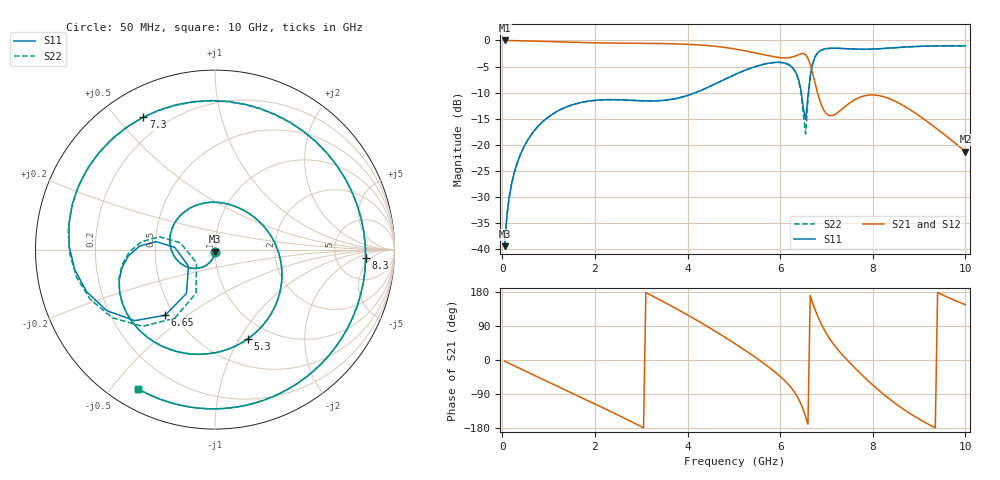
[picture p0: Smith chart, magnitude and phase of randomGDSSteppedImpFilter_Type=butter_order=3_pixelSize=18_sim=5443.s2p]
! freq	dB(S11)	phase(S11)	dB(S12)	phase(S12)
!  dB(S21)	phase(S21)	dB(S22)	phase(S22)
!S-par simulation data
#  GHz  S  DB  R 50
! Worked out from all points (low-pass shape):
!   200 points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, 50 MHz to 10 GHz, reference 50 ohm
!   highest |S21| = -0.01 dB at 50 MHz (marker M1); lowest = -21.3 dB at 10 GHz (marker M2)
!   |S21| within 3 dB of the highest: start of sweep to 5.786 GHz; 6.325 GHz to 6.571 GHz (245.9 MHz wide, 3.81 % of centre)
!   lowest |S11| = -39.4 dB at 50 MHz (marker M3), VSWR 1.02, Z = 49.9 - j1.07 ohm
!   |S11| at or under -10 dB: start of sweep to 4.173 GHz; 6.456 GHz to 6.609 GHz (152.8 MHz wide, 2.34 % of centre)
!   |S22| runs from -39.4 to -1.0 dB; largest |S21 - S12| = 0
!   S11 on the Smith chart (normalised r, x): 50 MHz: 1.00, -0.02; 5.3 GHz: 0.79, -1.09; 6.65 GHz: 0.45, -0.41; 7.3 GHz: 0.12, +0.59; 8.3 GHz: 10, -3; 10 GHz: 0.08, -0.59
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0.05  -39.42 -92.2  -0.01 -3.0  -0.01 -3.0  -39.42 -92.2
0.2  -27.53 -101.6  -0.03 -11.8  -0.03 -11.8  -27.53 -101.7
0.5  -19.85 -119.8  -0.09 -29.4  -0.09 -29.4  -19.85 -119.8
1.15  -13.76 -157.7  -0.27 -67.1  -0.27 -67.1  -13.76 -157.7
1.75  -11.80 167.8  -0.42 -101.5  -0.42 -101.5  -11.80 167.8
2.65  -11.42 115.1  -0.52 -154.3  -0.52 -154.3  -11.42 115.1
3.4  -11.54 68.4  -0.59 158.9  -0.59 158.9  -11.54 68.4
4.3  -9.54 7.1  -0.89 97.8  -0.89 97.8  -9.54 7.3
5.05  -6.43 -49.6  -1.68 41.1  -1.68 41.1  -6.43 -49.4
5.3  -5.51 -69.8  -2.09 20.8  -2.09 20.8  -5.52 -69.7
5.85  -4.24 -118.3  -3.11 -27.9  -3.11 -27.9  -4.25 -118.5
6.35  -6.31 -175.9  -2.92 -92.5  -2.92 -92.5  -6.42 -178.4
6.55  -15.20 -148.3  -2.72 -149.5  -2.72 -149.5  -17.92 -144.1
6.65  -6.77 -127.1  -4.63 170.1  -4.63 170.1  -7.06 -120.4
6.7  -4.48 -138.5  -6.27 151.0  -6.27 151.0  -4.61 -133.4
6.95  -1.66 170.2  -13.48 80.5  -13.48 80.5  -1.68 172.8
7.3  -1.52 118.4  -13.43 19.7  -13.43 19.7  -1.53 120.1
7.7  -1.68 65.2  -10.97 -31.4  -10.97 -31.4  -1.69 66.2
8.3  -1.50 -3.3  -10.96 -97.2  -10.96 -97.2  -1.51 -3.0
8.35  -1.47 -8.3  -11.13 -102.0  -11.13 -102.0  -1.48 -8.0
9.1  -1.10 -68.9  -15.05 -162.7  -15.05 -162.7  -1.11 -68.9
10  -1.05 -118.8  -21.29 145.9  -21.29 145.9  -1.05 -118.9
